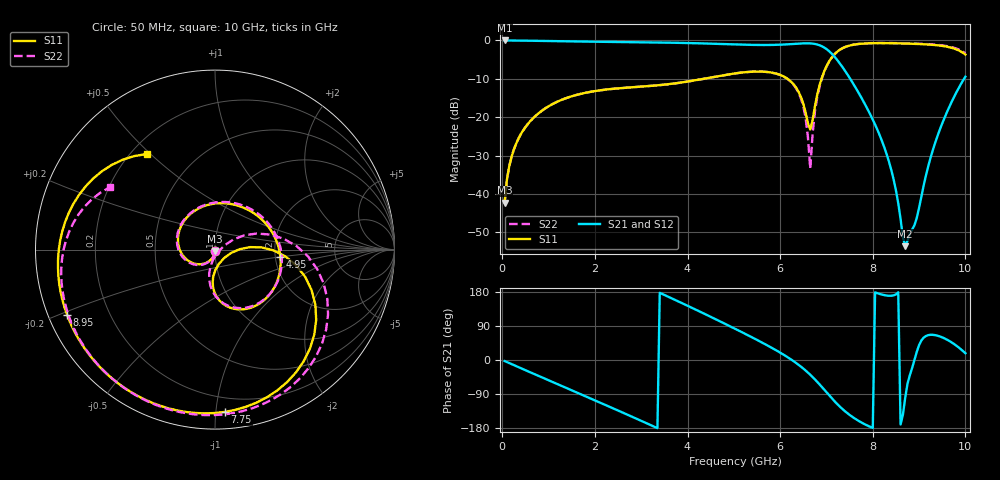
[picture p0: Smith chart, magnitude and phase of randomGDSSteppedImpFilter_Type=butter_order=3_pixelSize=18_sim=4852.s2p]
! freq	dB(S11)	phase(S11)	dB(S12)	phase(S12)
!  dB(S21)	phase(S21)	dB(S22)	phase(S22)
!S-par simulation data
#  GHz  S  DB  R 50
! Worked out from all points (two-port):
!   200 points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, 50 MHz to 10 GHz, reference 50 ohm
!   highest |S21| = -0.01 dB at 50 MHz (marker M1); lowest = -53.6 dB at 8.7 GHz (marker M2)
!   |S21| within 3 dB of the highest: start of sweep to 7.075 GHz
!   lowest |S11| = -42.2 dB at 50 MHz (marker M3), VSWR 1.02, Z = 50 - j0.773 ohm
!   |S11| at or under -10 dB: start of sweep to 4.34 GHz; 6.16 GHz to 6.893 GHz (733.5 MHz wide, 11.2 % of centre)
!   |S22| runs from -42.2 to -0.7 dB; largest |S21 - S12| = 0
!   S11 on the Smith chart (normalised r, x): 50 MHz: 1.00, -0.02; 4.95 GHz: 2.13, -0.20; 7.75 GHz: 0.10, -1.06; 8.95 GHz: 0.05, -0.21; 10 GHz: 0.26, +0.49
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0.05  -42.23 -92.1  -0.01 -2.7  -0.01 -2.7  -42.25 -92.0
0.2  -30.29 -100.7  -0.02 -10.8  -0.02 -10.8  -30.29 -100.0
0.5  -22.56 -118.0  -0.06 -26.9  -0.06 -26.9  -22.58 -116.4
1.75  -13.75 172.9  -0.30 -93.3  -0.30 -93.3  -13.76 178.7
2.65  -12.33 123.0  -0.44 -141.4  -0.44 -141.4  -12.35 132.1
3.4  -11.63 81.0  -0.54 177.3  -0.54 177.3  -11.65 91.7
4.25  -10.19 33.3  -0.75 128.7  -0.75 128.7  -10.21 42.8
4.95  -8.72 -6.5  -1.01 87.1  -1.01 87.1  -8.73 0.5
5.05  -8.54 -12.2  -1.05 81.0  -1.05 81.0  -8.55 -5.7
6.3  -11.58 -87.9  -0.91 -4.0  -0.91 -4.0  -11.70 -89.2
6.55  -18.78 -89.3  -0.75 -27.8  -0.75 -27.8  -20.14 -105.1
6.65  -23.20 -43.8  -0.77 -38.9  -0.77 -38.9  -33.35 -37.9
6.7  -20.83 -12.3  -0.83 -44.9  -0.83 -44.9  -24.47 24.5
6.85  -11.73 2.7  -1.25 -64.3  -1.25 -64.3  -12.09 21.1
7.05  -5.61 -16.7  -2.73 -92.2  -2.73 -92.2  -5.69 -4.2
7.3  -2.34 -46.1  -6.17 -124.4  -6.17 -124.4  -2.35 -35.7
7.75  -0.86 -86.5  -14.82 -164.6  -14.82 -164.6  -0.84 -77.0
8.35  -0.72 -123.7  -31.58 169.5  -31.58 169.5  -0.67 -113.3
8.7  -0.80 -142.6  -53.58 -100.0  -53.58 -100.0  -0.75 -131.1
8.95  -0.91 -156.3  -46.24 21.5  -46.24 21.5  -0.84 -143.5
9.35  -1.21 179.9  -26.56 65.5  -26.56 65.5  -1.11 -164.7
10  -3.68 125.6  -9.45 17.8  -9.45 17.8  -3.33 149.4
